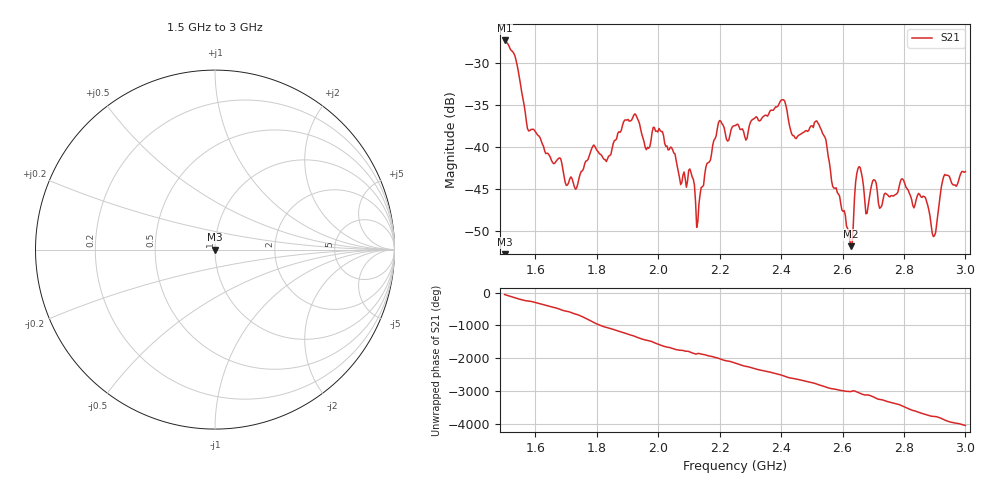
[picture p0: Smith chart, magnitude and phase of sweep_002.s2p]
# HZ S RI R 50
! BoneWave AI live acquisition
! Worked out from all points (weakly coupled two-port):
!   404 points, 1.5 GHz to 3 GHz, reference 50 ohm
!   highest |S21| = -27.36 dB at 1.5 GHz (marker M1); lowest = -51.8 dB at 2.628 GHz (marker M2)
!   lowest |S11| = - dB at 1.5 GHz (marker M3), VSWR 1.00, Z = 50 + j0 ohm
!   |S11| at or under -10 dB: start of sweep to end of sweep
!   S12 and S22 are empty: the file has one direction only
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1.5e9  0 0  0.0229 -0.0362  0 0  0 0
1.578164e9  0 0  -0.00322 0.012  0 0  0 0
1.700993e9  0 0  -0.0053 0.00265  0 0  0 0
1.753102e9  0 0  0.00694 -0.00198  0 0  0 0
1.894541e9  0 0  -0.0141 -0.00311  0 0  0 0
2.002481e9  0 0  -0.0102 -0.00793  0 0  0 0
2.1067e9  0 0  0.00635 -0.0031  0 0  0 0
2.129032e9  0 0  0.00192 -0.00306  0 0  0 0
2.19603e9  0 0  -0.0125 0.00617  0 0  0 0
2.251861e9  0 0  0.0134 0.00107  0 0  0 0
2.404467e9  0 0  0.0188 -0.00331  0 0  0 0
2.441687e9  0 0  -0.00335 -0.0112  0 0  0 0
2.501241e9  0 0  -0.00814 0.0106  0 0  0 0
2.538462e9  0 0  0.0111 0.00402  0 0  0 0
2.627792e9  0 0  -0.00192 -0.00173  0 0  0 0
2.653846e9  0 0  -0.00764 0.000499  0 0  0 0
2.679901e9  0 0  -0.00176 0.00364  0 0  0 0
2.75062e9  0 0  -0.000729 -0.00504  0 0  0 0
2.866005e9  0 0  -0.00143 -0.00487  0 0  0 0
2.895782e9  0 0  -0.00294 4.14e-05  0 0  0 0
2.933002e9  0 0  0.00258 0.00637  0 0  0 0
3e9  0 0  -0.000944 -0.00708  0 0  0 0
